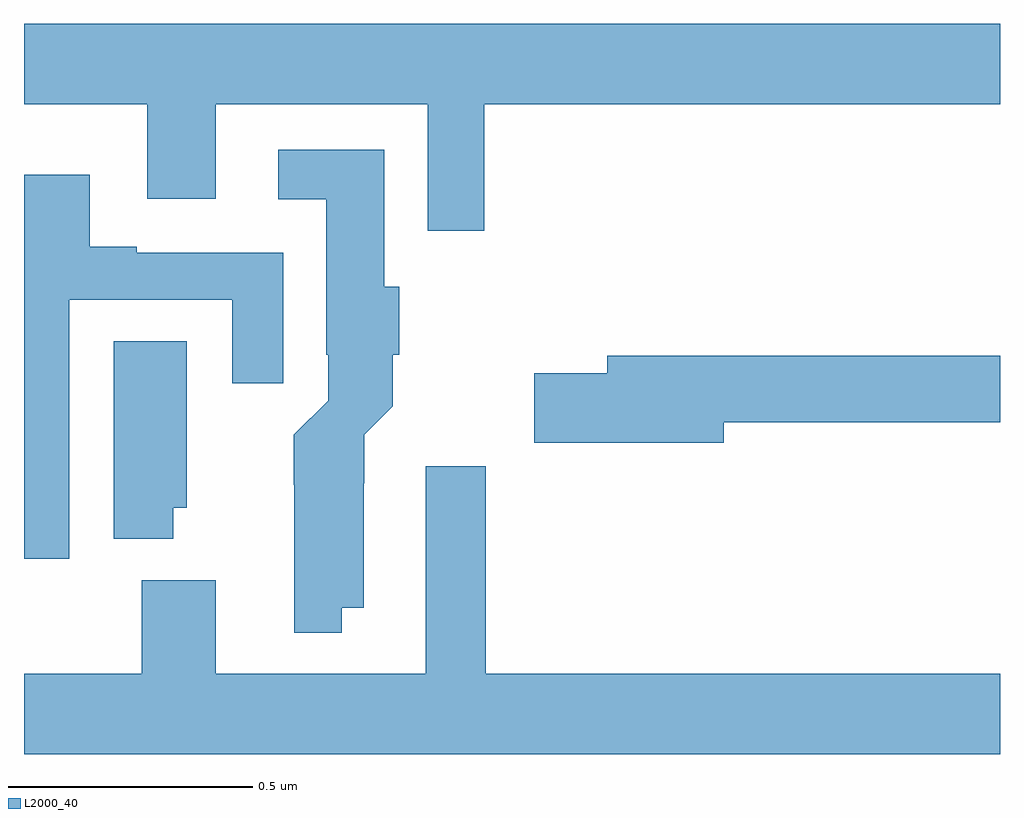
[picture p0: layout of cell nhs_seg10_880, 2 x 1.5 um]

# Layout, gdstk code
import gdstk
lib = gdstk.Library(unit=1e-6, precision=1e-09)
def P(c, l, *ps):  # polygons
    for p in ps: c.add(gdstk.Polygon(p, *l))
L2000_40 = (2000, 40)

nhs_seg10_880 = lib.new_cell('nhs_seg10_880')
P(nhs_seg10_880, L2000_40, [(121.943,1320.296),(123,1320.296),(123,1320.46),(121,1320.46),(121,1320.296),(121.253,1320.296),(121.253,1320.102),(121.393,1320.102),(121.393,1320.296),(121.827,1320.296),(121.827,1320.036),(121.943,1320.036)],
  [(121.651,1319.264),(121.696,1319.264),(121.696,1319.519),(121.697,1319.519),(121.697,1319.618),(121.756,1319.677),(121.756,1319.782),(121.769,1319.782),(121.769,1319.922),(121.738,1319.922),(121.738,1320.202),(121.521,1320.202),(121.521,1320.101),(121.619,1320.101),(121.619,1319.782),(121.623,1319.782),(121.623,1319.688),(121.553,1319.618),(121.553,1319.516),(121.554,1319.516),(121.554,1319.213),(121.651,1319.213)],
  [(121.093,1319.895),(121.427,1319.895),(121.427,1319.724),(121.531,1319.724),(121.531,1319.991),(121.231,1319.991),(121.231,1320.004),(121.135,1320.004),(121.135,1320.151),(121,1320.151),(121,1319.364),(121.093,1319.364)],
  [(121.306,1319.469),(121.333,1319.469),(121.333,1319.81),(121.184,1319.81),(121.184,1319.405),(121.306,1319.405)],
  [(122.434,1319.644),(123,1319.644),(123,1319.78),(122.195,1319.78),(122.195,1319.744),(122.046,1319.744),(122.046,1319.602),(122.434,1319.602)],
  [(123,1319.128),(121.946,1319.128),(121.946,1319.554),(121.823,1319.554),(121.823,1319.128),(121.393,1319.128),(121.393,1319.32),(121.241,1319.32),(121.241,1319.128),(121,1319.128),(121,1318.964),(123,1318.964)])

lib.write_gds('nhs_seg10_880.gds')
